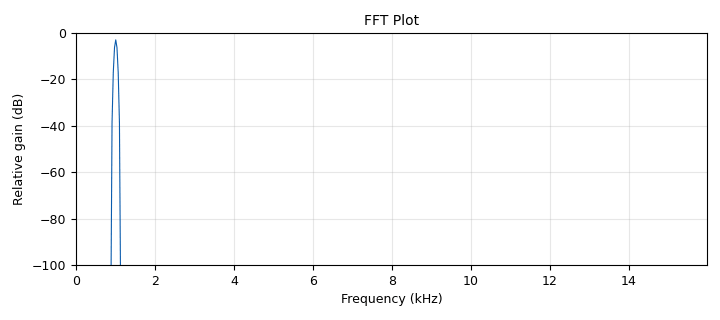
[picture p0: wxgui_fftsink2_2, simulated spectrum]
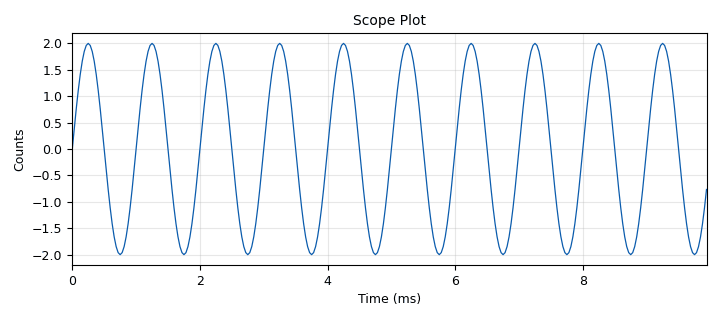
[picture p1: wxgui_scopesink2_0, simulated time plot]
<?xml version='1.0' encoding='utf-8'?>
<?grc format='1' created='3.7.10'?>
<flow_graph>
<block>
<key>options</key>
<param><key>id</key><value>top_block</value></param>
<param><key>category</key><value>Custom</value></param>
<param><key>generate_options</key><value>wx_gui</value></param>
</block>
<block>
<key>variable_slider</key>
<param><key>id</key><value>freq_1</value></param>
<param><key>converver</key><value>float_converter</value></param>
<param><key>value</key><value>1000</value></param>
<param><key>label</key><value>Frequency 2</value></param>
<param><key>max</key><value>128000</value></param>
<param><key>min</key><value>-128000</value></param>
<param><key>num_steps</key><value>100</value></param>
<param><key>style</key><value>wx.SL_HORIZONTAL</value></param>
</block>
<block>
<key>variable_slider</key>
<param><key>id</key><value>freq_2</value></param>
<param><key>converver</key><value>float_converter</value></param>
<param><key>value</key><value>1000</value></param>
<param><key>label</key><value>Frequency 2</value></param>
<param><key>max</key><value>128000</value></param>
<param><key>min</key><value>-128000</value></param>
<param><key>num_steps</key><value>100</value></param>
<param><key>style</key><value>wx.SL_HORIZONTAL</value></param>
</block>
<block>
<key>variable_slider</key>
<param><key>id</key><value>samp_rate_1</value></param>
<param><key>converver</key><value>float_converter</value></param>
<param><key>value</key><value>32000</value></param>
<param><key>label</key><value></value></param>
<param><key>max</key><value>64000</value></param>
<param><key>min</key><value>0</value></param>
<param><key>num_steps</key><value>100</value></param>
<param><key>style</key><value>wx.SL_HORIZONTAL</value></param>
</block>
<block>
<key>variable_slider</key>
<param><key>id</key><value>samp_rate_2</value></param>
<param><key>converver</key><value>float_converter</value></param>
<param><key>value</key><value>32000</value></param>
<param><key>label</key><value></value></param>
<param><key>max</key><value>64000</value></param>
<param><key>min</key><value>0</value></param>
<param><key>num_steps</key><value>100</value></param>
<param><key>style</key><value>wx.SL_HORIZONTAL</value></param>
</block>
<block>
<key>analog_sig_source_x</key>
<param><key>id</key><value>analog_sig_source_x_0</value></param>
<param><key>amp</key><value>1</value></param>
<param><key>_enabled</key><value>False</value></param>
<param><key>freq</key><value>1000</value></param>
<param><key>offset</key><value>0</value></param>
<param><key>type</key><value>complex</value></param>
<param><key>samp_rate</key><value>samp_rate_1</value></param>
<param><key>waveform</key><value>analog.GR_COS_WAVE</value></param>
</block>
<block>
<key>analog_sig_source_x</key>
<param><key>id</key><value>analog_sig_source_x_0_0</value></param>
<param><key>amp</key><value>1</value></param>
<param><key>freq</key><value>freq_1</value></param>
<param><key>offset</key><value>0</value></param>
<param><key>type</key><value>float</value></param>
<param><key>samp_rate</key><value>samp_rate_2</value></param>
<param><key>waveform</key><value>analog.GR_COS_WAVE</value></param>
</block>
<block>
<key>analog_sig_source_x</key>
<param><key>id</key><value>analog_sig_source_x_0_0_0</value></param>
<param><key>amp</key><value>1</value></param>
<param><key>freq</key><value>freq_2</value></param>
<param><key>offset</key><value>0</value></param>
<param><key>type</key><value>float</value></param>
<param><key>samp_rate</key><value>samp_rate_2</value></param>
<param><key>waveform</key><value>analog.GR_COS_WAVE</value></param>
</block>
<block>
<key>blocks_add_xx</key>
<param><key>id</key><value>blocks_add_xx_0</value></param>
<param><key>type</key><value>float</value></param>
</block>
<block>
<key>blocks_throttle</key>
<param><key>id</key><value>blocks_throttle_0</value></param>
<param><key>samples_per_second</key><value>samp_rate_2</value></param>
<param><key>type</key><value>float</value></param>
</block>
<block>
<key>wxgui_fftsink2</key>
<param><key>id</key><value>wxgui_fftsink2_1</value></param>
<param><key>avg_alpha</key><value>0</value></param>
<param><key>average</key><value>False</value></param>
<param><key>baseband_freq</key><value>0</value></param>
<param><key>_enabled</key><value>False</value></param>
<param><key>fft_size</key><value>1024</value></param>
<param><key>freqvar</key><value>None</value></param>
<param><key>peak_hold</key><value>False</value></param>
<param><key>ref_level</key><value>0</value></param>
<param><key>ref_scale</key><value>2.0</value></param>
<param><key>fft_rate</key><value>15</value></param>
<param><key>samp_rate</key><value>samp_rate_1</value></param>
<param><key>title</key><value>FFT Plot</value></param>
<param><key>type</key><value>complex</value></param>
<param><key>win</key><value>None</value></param>
<param><key>y_divs</key><value>10</value></param>
<param><key>y_per_div</key><value>10</value></param>
</block>
<block>
<key>wxgui_fftsink2</key>
<param><key>id</key><value>wxgui_fftsink2_2</value></param>
<param><key>avg_alpha</key><value>0</value></param>
<param><key>average</key><value>False</value></param>
<param><key>baseband_freq</key><value>0</value></param>
<param><key>fft_size</key><value>1024</value></param>
<param><key>freqvar</key><value>None</value></param>
<param><key>peak_hold</key><value>False</value></param>
<param><key>ref_level</key><value>0</value></param>
<param><key>ref_scale</key><value>2.0</value></param>
<param><key>fft_rate</key><value>15</value></param>
<param><key>samp_rate</key><value>samp_rate_2</value></param>
<param><key>title</key><value>FFT Plot</value></param>
<param><key>type</key><value>float</value></param>
<param><key>win</key><value>None</value></param>
<param><key>y_divs</key><value>10</value></param>
<param><key>y_per_div</key><value>10</value></param>
</block>
<block>
<key>wxgui_scopesink2</key>
<param><key>id</key><value>wxgui_scopesink2_0</value></param>
<param><key>ac_couple</key><value>False</value></param>
<param><key>num_inputs</key><value>1</value></param>
<param><key>samp_rate</key><value>samp_rate_2</value></param>
<param><key>t_scale</key><value>0</value></param>
<param><key>title</key><value>Scope Plot</value></param>
<param><key>trig_mode</key><value>wxgui.TRIG_MODE_AUTO</value></param>
<param><key>type</key><value>float</value></param>
<param><key>v_offset</key><value>0</value></param>
<param><key>v_scale</key><value>0</value></param>
<param><key>xy_mode</key><value>False</value></param>
<param><key>y_axis_label</key><value>Counts</value></param>
</block>
<connection><source_block_id>analog_sig_source_x_0</source_block_id><sink_block_id>wxgui_fftsink2_1</sink_block_id><source_key>0</source_key><sink_key>0</sink_key></connection>
<connection><source_block_id>analog_sig_source_x_0_0</source_block_id><sink_block_id>blocks_add_xx_0</sink_block_id><source_key>0</source_key><sink_key>0</sink_key></connection>
<connection><source_block_id>analog_sig_source_x_0_0_0</source_block_id><sink_block_id>blocks_add_xx_0</sink_block_id><source_key>0</source_key><sink_key>1</sink_key></connection>
<connection><source_block_id>blocks_add_xx_0</source_block_id><sink_block_id>blocks_throttle_0</sink_block_id><source_key>0</source_key><sink_key>0</sink_key></connection>
<connection><source_block_id>blocks_throttle_0</source_block_id><sink_block_id>wxgui_fftsink2_2</sink_block_id><source_key>0</source_key><sink_key>0</sink_key></connection>
<connection><source_block_id>blocks_throttle_0</source_block_id><sink_block_id>wxgui_scopesink2_0</sink_block_id><source_key>0</source_key><sink_key>0</sink_key></connection>
</flow_graph>
